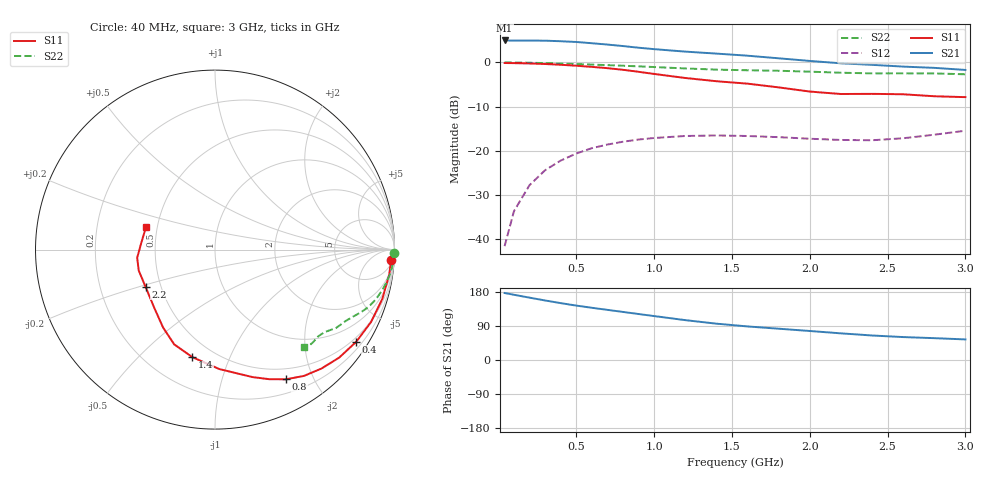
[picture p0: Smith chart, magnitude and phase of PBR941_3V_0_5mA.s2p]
! Filename:  PBR941A.S2P  Version:  3.0
! Philips part #:  PBR941  Date: July 1998
! Bias condition:  Vce=3V, Ic=0.5mA
#  MHz  S  MA  R 50
! Freq  S11  S21  S12  S22
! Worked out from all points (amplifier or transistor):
!   21 points, 40 MHz to 3 GHz, reference 50 ohm
!   highest |S21| = 5.0 dB at 40 MHz (marker M1)
!   |S21| within 3 dB of that: start of sweep to 1.413 GHz
!   unconditionally stable (mu >= 1): 2.031 GHz to end of sweep
!   at 300 MHz: K = 0.14, MSG = 14.6 dB, |S12| = -24.4 dB
!   at 1 GHz: K = 0.42, MSG = 10.0 dB, |S12| = -17.1 dB
!   at 3 GHz: K = 1.18, MAG = 4.3 dB, |S12| = -15.5 dB
!   S11 on the Smith chart (normalised r, x): 40 MHz: 10, -32; 400 MHz: 0.38, -3.32; 800 MHz: 0.36, -1.63; 1.4 GHz: 0.38, -0.74; 2.2 GHz: 0.41, -0.21; 3 GHz: 0.43, +0.13
40  0.9833 -3.3  1.769 176.8  0.008365 87.1  0.9986 -1.2
100  0.9804 -8.1  1.763 172.1  0.02076 84.6  0.9966 -3.0
200  0.9718 -16.4  1.763 164.5  0.04095 79.6  0.9904 -5.9
300  0.9585 -24.8  1.759 157.1  0.06036 75.2  0.9812 -8.7
400  0.9397 -33.1  1.733 150.1  0.07757 70.5  0.9697 -11.4
500  0.9169 -41.0  1.7 143.6  0.09321 66.7  0.9569 -14.0
600  0.8894 -48.2  1.646 137.8  0.1071 62.7  0.9437 -16.2
700  0.8606 -54.9  1.59 132.3  0.1178 59.5  0.9305 -18.2
800  0.8243 -61.2  1.529 126.9  0.1267 56.4  0.9162 -20.0
900  0.7827 -67.3  1.465 121.3  0.1342 53.8  0.9013 -21.6
1000  0.7399 -73.7  1.411 116.0  0.1397 51.0  0.8857 -23.1
1200  0.6662 -87.9  1.323 105.2  0.1472 46.4  0.8537 -26.0
1400  0.6122 -101.9  1.257 95.9  0.1492 43.0  0.828 -28.8
1600  0.5749 -113.3  1.19 88.6  0.1472 42.3  0.8144 -31.1
1800  0.5216 -123.7  1.112 82.6  0.1428 43.7  0.8036 -32.9
2000  0.4679 -136.5  1.038 76.6  0.137 46.1  0.7853 -34.7
2200  0.4389 -151.9  0.976 70.3  0.1328 50.3  0.7637 -37.0
2400  0.4407 -164.7  0.9377 64.7  0.1317 56.8  0.7511 -40.0
2600  0.436 -174.0  0.8959 60.5  0.1387 64.9  0.7515 -43.1
2800  0.414 175.8  0.8668 57.6  0.1522 72.3  0.75 -45.4
3000  0.4045 161.7  0.8213 54.3  0.1688 78.3  0.7333 -47.4
